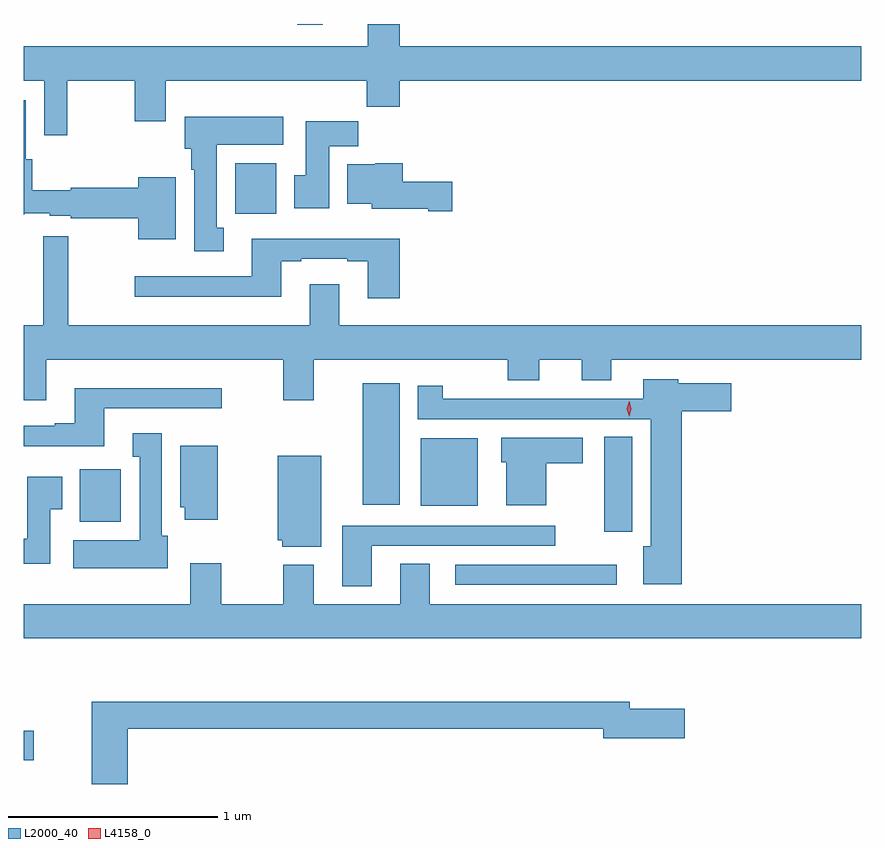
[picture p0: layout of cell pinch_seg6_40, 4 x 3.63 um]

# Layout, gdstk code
import gdstk
lib = gdstk.Library(unit=1e-6, precision=1e-09)
def R(c, l, rs):  # rectangles x0, y0, x1, y1
    for r in rs: c.add(gdstk.rectangle(r[:2], r[2:], *l))
def P(c, l, *ps):  # polygons
    for p in ps: c.add(gdstk.Polygon(p, *l))
L2000_40 = (2000, 40)
L4158_0 = (4158, 0)

pinch_seg6_40 = lib.new_cell('pinch_seg6_40')
R(pinch_seg6_40, L2000_40, [(938.911,957.41,938.959,957.552), (940.971,958.248,941.743,958.344), (941.684,958.503,941.818,958.955), (939.179,958.55,939.375,958.801), (940.808,958.625,941.08,958.948), (940.529,958.631,940.708,959.212), (939.92,960.02,940.117,960.262), (940.217,960.924,940.339,960.927)])
P(pinch_seg6_40, L2000_40, [(939.118,960.656),(939.442,960.656),(939.442,960.462),(939.589,960.462),(939.589,960.656),(940.549,960.656),(940.549,960.532),(940.706,960.532),(940.706,960.656),(942.911,960.656),(942.911,960.82),(940.706,960.82),(940.706,960.927),(940.553,960.927),(940.553,960.82),(938.911,960.82),(938.911,960.656),(939.009,960.656),(939.009,960.396),(939.118,960.396)],
  [(939.637,960.196),(939.458,960.196),(939.458,960.146),(939.136,960.146),(939.136,960.133),(938.951,960.133),(938.951,960.282),(938.92,960.282),(938.92,960.562),(938.911,960.562),(938.911,960.015),(938.919,960.023),(939.036,960.023),(939.036,960.011),(939.136,960.011),(939.136,959.999),(939.458,959.999),(939.458,959.9),(939.637,959.9)],
  [(939.865,959.954),(939.832,959.954),(939.832,960.35),(940.15,960.35),(940.15,960.484),(939.68,960.484),(939.68,960.33),(939.71,960.33),(939.71,960.23),(939.725,960.23),(939.725,959.841),(939.865,959.841)],
  [(940.369,960.344),(940.508,960.344),(940.508,960.463),(940.259,960.463),(940.259,960.204),(940.202,960.204),(940.202,960.048),(940.369,960.048)],
  [(940.957,960.174),(940.721,960.174),(940.721,960.262),(940.59,960.262),(940.59,960.256),(940.457,960.256),(940.457,960.068),(940.572,960.068),(940.572,960.044),(940.844,960.044),(940.844,960.032),(940.957,960.032)],
  [(939.019,959.324),(940.15,959.324),(940.15,959.13),(940.297,959.13),(940.297,959.324),(941.222,959.324),(941.222,959.225),(941.374,959.225),(941.374,959.324),(941.576,959.324),(941.576,959.225),(941.716,959.225),(941.716,959.324),(942.911,959.324),(942.911,959.488),(940.417,959.488),(940.417,959.683),(940.277,959.683),(940.277,959.488),(939.123,959.488),(939.123,959.914),(939.005,959.914),(939.005,959.488),(938.911,959.488),(938.911,959.13),(939.019,959.13)],
  [(940.706,959.902),(940.001,959.902),(940.001,959.721),(939.441,959.721),(939.441,959.624),(940.141,959.624),(940.141,959.793),(940.237,959.793),(940.237,959.805),(940.457,959.805),(940.457,959.793),(940.553,959.793),(940.553,959.616),(940.706,959.616)],
  [(942.053,959.078),(942.289,959.078),(942.289,959.212),(942.036,959.212),(942.036,959.23),(941.87,959.23),(941.87,959.136),(941.138,959.136),(941.138,959.138),(940.911,959.138),(940.911,959.2),(940.793,959.2),(940.793,959.04),(941.906,959.04),(941.906,958.432),(941.87,958.432),(941.87,958.25),(942.053,958.25)],
  [(939.295,959.091),(939.856,959.091),(939.856,959.188),(939.155,959.188),(939.155,959.02),(939.059,959.02),(939.059,959.007),(938.911,959.007),(938.911,958.91),(939.295,958.91)],
  [(939.598,958.482),(939.571,958.482),(939.571,958.972),(939.431,958.972),(939.431,958.859),(939.464,958.859),(939.464,958.462),(939.147,958.462),(939.147,958.328),(939.598,958.328)],
  [(941.407,958.829),(941.581,958.829),(941.581,958.951),(941.192,958.951),(941.192,958.833),(941.216,958.833),(941.216,958.628),(941.407,958.628)],
  [(939.838,958.912),(939.659,958.912),(939.659,958.62),(939.68,958.62),(939.68,958.56),(939.838,958.56)],
  [(940.333,958.864),(940.124,958.864),(940.124,958.461),(940.146,958.461),(940.146,958.43),(940.333,958.43)],
  [(939.037,958.609),(939.094,958.609),(939.094,958.765),(938.927,958.765),(938.927,958.468),(938.911,958.468),(938.911,958.35),(939.037,958.35)],
  [(940.573,958.434),(941.449,958.434),(941.449,958.53),(940.433,958.53),(940.433,958.242),(940.573,958.242)],
  [(942.911,958.156),(940.849,958.156),(940.849,958.349),(940.709,958.349),(940.709,958.156),(940.297,958.156),(940.297,958.345),(940.15,958.345),(940.15,958.156),(939.855,958.156),(939.855,958.351),(939.707,958.351),(939.707,958.156),(938.911,958.156),(938.911,957.992),(942.911,957.992)],
  [(939.407,957.562),(941.678,957.562),(941.678,957.515),(942.067,957.515),(942.067,957.657),(941.806,957.657),(941.806,957.691),(939.236,957.691),(939.236,957.297),(939.407,957.297)])
P(pinch_seg6_40, L4158_0, [(941.802,959.053),(941.802,959.053),(941.792,959.089),(941.802,959.124),(941.802,959.124),(941.803,959.124),(941.812,959.089),(941.803,959.053)])

lib.write_gds('pinch_seg6_40.gds')
